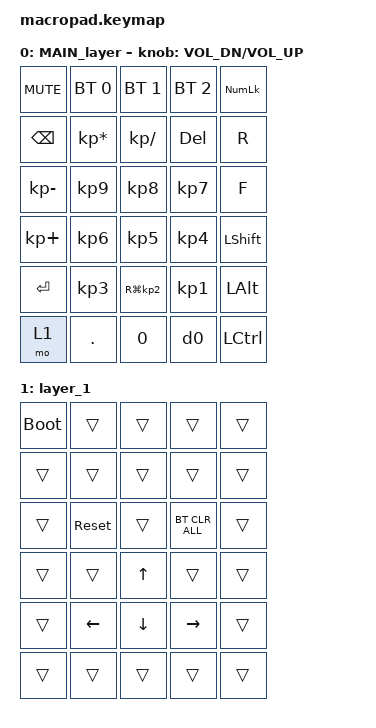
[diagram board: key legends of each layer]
#include <behaviors.dtsi>
#include <dt-bindings/zmk/bt.h>
#include <dt-bindings/zmk/keys.h>

#define MAIN 0
#define BT 1

/ {
    macros {
        d0: d0 {
            compatible = "zmk,behavior-macro";
            #binding-cells = <0>;
            bindings = <&kp N0 &kp N0>;
            label = "D0";
        };
    };

    keymap {
        compatible = "zmk,keymap";

        MAIN_layer {
            bindings = <
&kp C_MUTE     &bt BT_SEL 0     &bt BT_SEL 1         &bt BT_SEL 2     &kp KP_NUMLOCK
&kp BACKSPACE  &kp KP_ASTERISK  &kp KP_DIVIDE        &kp DEL          &kp R
&kp KP_MINUS   &kp KP_NUMBER_9  &kp KP_NUMBER_8      &kp KP_NUMBER_7  &kp F
&kp KP_PLUS    &kp KP_NUMBER_6  &kp KP_NUMBER_5      &kp KP_NUMBER_4  &kp LEFT_SHIFT
&kp ENTER      &kp KP_NUMBER_3  &kp RG(KP_NUMBER_2)  &kp KP_NUMBER_1  &kp LEFT_ALT
&mo 1          &kp PERIOD       &kp N0               &d0              &kp LCTRL
            >;

            sensor-bindings = <&inc_dec_kp C_VOL_DN C_VOL_UP>;
        };

        layer_1 {
            bindings = <
&bootloader  &trans          &trans          &trans           &trans
&trans       &trans          &trans          &trans           &trans
&trans       &sys_reset      &trans          &bt BT_CLR_ALL   &trans
&trans       &trans          &kp UP_ARROW    &trans           &trans
&trans       &kp LEFT_ARROW  &kp DOWN_ARROW  &kp RIGHT_ARROW  &trans
&trans       &trans          &trans          &trans           &trans
            >;
        };
    };
};
